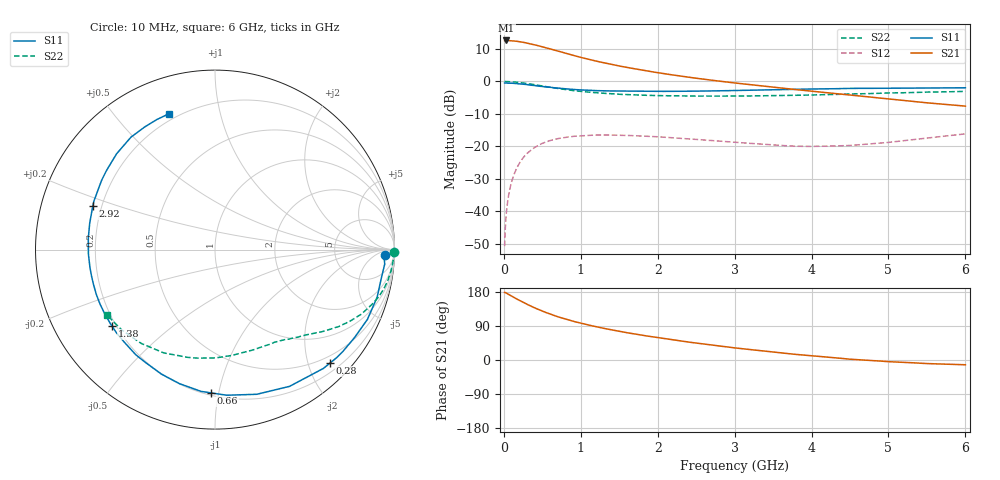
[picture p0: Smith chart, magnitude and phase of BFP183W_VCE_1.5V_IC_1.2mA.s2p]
! Infineon Technologies  Discrete & RF Semiconductors
! BFP183W
! VCE = 1.5 V,  IC =  1.2 mA
! Common Emitter S-Parameters:  Jan 2016
# GHz  S  MA  R  50
!  f  S11  S21  S12  S22
! GHz  MAG  ANG  MAG  ANG  MAG  ANG  MAG  ANG
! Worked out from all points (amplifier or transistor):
!   210 points, 10 MHz to 6 GHz, reference 50 ohm
!   highest |S21| = 12.6 dB at 30 MHz (marker M1)
!   |S21| within 3 dB of that: start of sweep to 663.3 MHz
!   unconditionally stable (mu >= 1): 2.592 GHz to end of sweep
!   at 185 MHz: K = 0.08, MSG = 19.1 dB, |S12| = -25.9 dB
!   at 1.52 GHz: K = 0.58, MSG = 10.6 dB, |S12| = -16.6 dB
!   at 6 GHz: K = 1.15, MAG = 1.9 dB, |S12| = -16.1 dB
!   S11 on the Smith chart (normalised r, x): 10 MHz: 28, -16; 280 MHz: 0.36, -2.39; 660 MHz: 0.22, -0.95; 1.38 GHz: 0.18, -0.32; 2.92 GHz: 0.17, +0.17; 6 GHz: 0.17, +0.70
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0.01  0.9472 -1.7  4.238 178.3  0.0029 91.3  0.9988 -0.7
0.02  0.9448 -3.3  4.267 178.0  0.0059 83.7  0.9971 -1.4
0.03  0.949 -4.9  4.284 176.9  0.0087 86.3  0.9964 -2.0
0.06  0.9403 -9.7  4.262 173.4  0.017 82.9  0.9934 -4.0
0.11  0.9384 -17.9  4.22 167.6  0.0309 78.4  0.9869 -7.3
0.2  0.9188 -32.4  4.11 157.4  0.0544 70.6  0.9662 -13.0
0.28  0.9001 -44.6  3.948 149.3  0.0731 63.3  0.9383 -17.6
0.4  0.8678 -61.4  3.681 137.6  0.0962 53.6  0.8913 -23.8
0.5  0.839 -73.9  3.424 128.8  0.1114 46.8  0.8516 -27.9
0.66  0.7988 -91.5  3.04 117.1  0.1279 37.3  0.7937 -33.4
0.8  0.7727 -104.8  2.728 107.9  0.138 30.7  0.7503 -37.6
1.02  0.7384 -121.8  2.319 96.2  0.1461 22.2  0.6994 -42.7
1.2  0.7232 -133.7  2.058 87.7  0.1496 16.4  0.6709 -46.6
1.38  0.7147 -143.6  1.85 80.3  0.15 12.0  0.6502 -49.8
1.6  0.7088 -154.7  1.65 71.9  0.1477 7.8  0.6276 -53.8
2.02  0.7038 -171.8  1.355 58.5  0.14 2.1  0.6054 -61.6
2.4  0.7086 175.2  1.164 47.3  0.1311 -1.4  0.598 -69.1
2.92  0.7224 160.4  0.974 34.1  0.1177 -1.8  0.5958 -79.5
3.1  0.7284 155.7  0.921 29.9  0.1134 -1.0  0.5973 -83.3
4.1  0.767 134.0  0.691 9.4  0.1003 12.1  0.6214 -106.5
5.1  0.7882 118.7  0.523 -5.3  0.1188 27.6  0.6674 -130.5
6  0.7992 108.7  0.417 -12.6  0.1559 32.5  0.7037 -148.9
